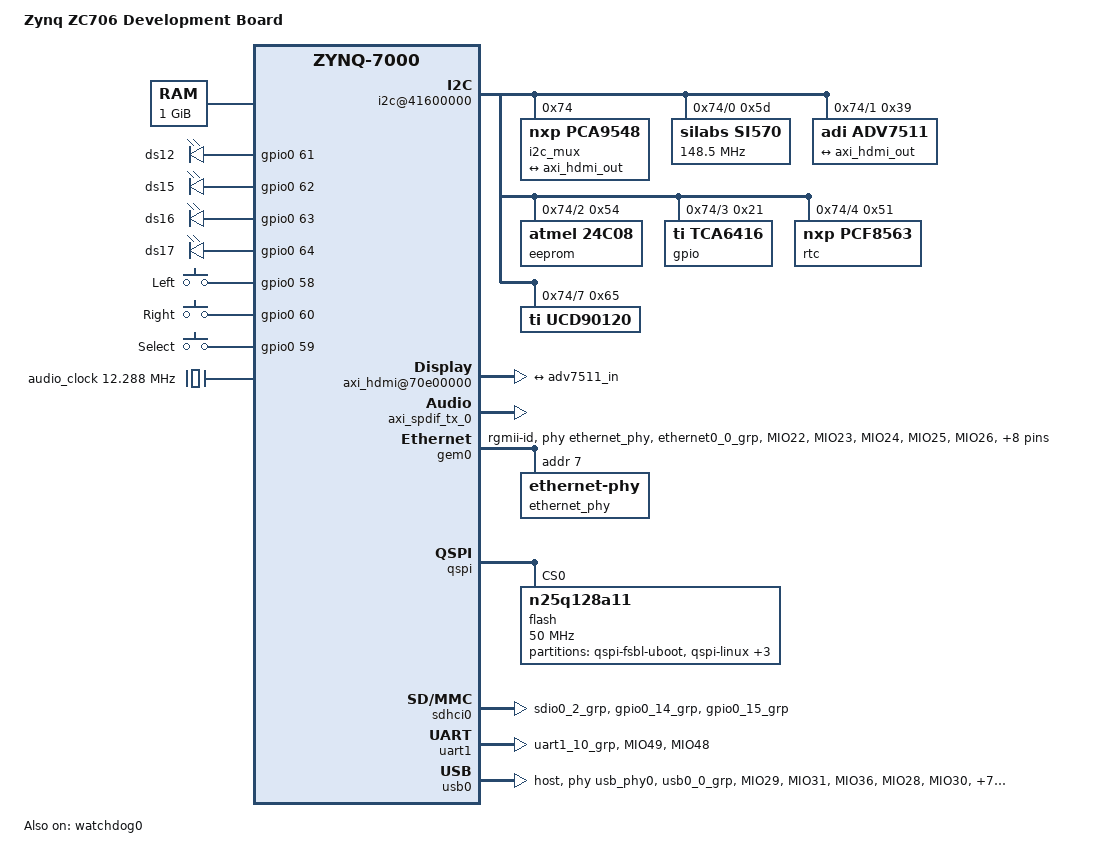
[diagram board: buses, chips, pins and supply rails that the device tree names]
/*
 *  Copyright (C) 2011 - 2018 Xilinx
 *  Copyright (C) 2018 WindRiver Corp.
 *
 * This software is licensed under the terms of the GNU General Public
 * License version 2, as published by the Free Software Foundation, and
 * may be copied, distributed, and modified under those terms.
 *
 * This program is distributed in the hope that it will be useful,
 * but WITHOUT ANY WARRANTY; without even the implied warranty of
 * MERCHANTABILITY or FITNESS FOR A PARTICULAR PURPOSE.  See the
 * GNU General Public License for more details.
 */
/dts-v1/;
/include/ "zynq-7000.dtsi"

/ {
	model = "Zynq ZC706 Development Board";
	compatible = "xlnx,zynq-zc706", "xlnx,zynq-7000";
	interrupt-parent = <&intc>;

	aliases {
		ethernet0 = &gem0;
		i2c0 = &i2c0;
		serial0 = &uart1;
		spi0 = &qspi;
	};

	memory@0 {
		device_type = "memory";
		reg = <0x0 0x40000000>;
	};

	chosen {
		bootargs = "";
		stdout-path = "serial0:115200n8";
	};

	usb_phy0: phy0 {
		compatible = "ulpi-phy";
		#phy-cells = <0>;
		reg = <0xe0002000 0x1000>;
		view-port = <0x0170>;
		drv-vbus;
	};

	leds {
		compatible = "gpio-leds";
		ds8 {
			label = "ds12";
			gpios = <&gpio0 61 0>;
		};

		ds9 {
			label = "ds15";
			gpios = <&gpio0 62 0>;
		};

		ds10 {
			label = "ds16";
			gpios = <&gpio0 63 0>;
		};

		ds35 {
			label = "ds17";
			gpios = <&gpio0 64 0>;
		};
	};

	gpio_keys {
		compatible = "gpio-keys";
		#address-cells = <1>;
		#size-cells = <0>;
		autorepeat;

		sw7 {
			label = "Left";
			linux,code = <105>; // Left
			gpios = <&gpio0 58 0>;
		};

		sw8 {
			label = "Right";
			linux,code = <106>; // Right
			gpios = <&gpio0 60 0>;
		};

		sw9 {
			label = "Select";
			linux,code = <28>; // Enter
			gpios = <&gpio0 59 0>;
		};
	};

	fpga_axi: fpga-axi@0 {
		compatible = "simple-bus";
		#address-cells = <0x1>;
		#size-cells = <0x1>;
		ranges;

		i2c@41600000 {
			compatible = "xlnx,xps-iic-2.00.a";
			reg = <0x41600000 0x10000>;
			interrupt-parent = <&intc>;
			interrupts = <0 58 4>;
			clocks = <&clkc 15>;
			clock-names = "pclk";

			#address-cells = <1>;
			#size-cells = <0>;

			i2c_mux: i2cswitch@74 {
				compatible = "nxp,pca9548";
				#address-cells = <1>;
				#size-cells = <0>;
				reg = <0x74>;

				i2c@0 {
					#address-cells = <1>;
					#size-cells = <0>;
					reg = <0>;
					si570: clock-generator@5d {
						#clock-cells = <0>;
						compatible = "silabs,si570","si570";
						temperature-stability = <50>;
						reg = <0x5d>;
						factory-fout = <156250000>;
						clock-frequency = <148500000>;
					};
				};

				i2c@1 {
				    #address-cells = <1>;
				    #size-cells = <0>;
				    reg = <1>;

				    adv7511: adv7511 {
						compatible = "adi,adv7511";
						reg = <0x39>, <0x3f>;
						reg-names = "primary", "edid";

						adi,input-depth = <8>;
						adi,input-colorspace = "rgb";
						adi,input-clock = "1x";
						adi,clock-delay = <0>;

						#sound-dai-cells = <0>;

						ports {
							#address-cells = <1>;
							#size-cells = <0>;

							port@0 {
								reg = <0>;
								adv7511_in: endpoint {
									remote-endpoint = <&axi_hdmi_out>;
								};
							};

							port@1 {
								reg = <1>;
							};
						};
				    };
				};

				i2c@2 {
					#address-cells = <1>;
					#size-cells = <0>;
					reg = <2>;
					eeprom@54 {
						compatible = "atmel,24c08";
						reg = <0x54>;
					};
				};

				i2c@3 {
					#address-cells = <1>;
					#size-cells = <0>;
					reg = <3>;
					gpio@21 {
						compatible = "ti,tca6416";
						reg = <0x21>;
						gpio-controller;
						#gpio-cells = <2>;
					};
				};

				i2c@4 {
					#size-cells = <0>;
					#address-cells = <1>;
					reg = <4>;
					rtc@51 {
						compatible = "nxp,pcf8563";
						reg = <0x51>;
					};
				};

				i2c@7 {
					#address-cells = <1>;
					#size-cells = <0>;
					reg = <7>;
					ucd90120@65 {
						compatible = "ti,ucd90120";
						reg = <0x65>;
					};
				};
			};
		};

		axi_vdma_0: axivdma@43000000 {
			compatible = "adi,axi-dmac-1.00.a";
			reg = <0x43000000 0x10000>;
			#dma-cells = <1>;
			interrupts = <0 59 4>;
			clocks = <&clkc 16>;

			adi,channels {
				#size-cells = <0>;
				#address-cells = <1>;

				dma-channel@0 {
					reg = <0>;
					adi,source-bus-width = <64>;
					adi,source-bus-type = <0>;
					adi,destination-bus-width = <64>;
					adi,destination-bus-type = <1>;
				};
			};
		};

		hdmi_clock: axi-clkgen@79000000 {
			compatible = "adi,axi-clkgen-2.00.a";
			reg = <0x79000000 0x10000>;
			#clock-cells = <0>;
			clocks = <&clkc 16>;
		};

		axi_hdmi@70e00000 {
			compatible = "adi,axi-hdmi-tx-1.00.a";
			reg = <0x70e00000 0x10000>;
			dmas = <&axi_vdma_0 0>;
			dma-names = "video";
			clocks = <&hdmi_clock>;
			adi,is-rgb;

			port {
				axi_hdmi_out: endpoint {
					remote-endpoint = <&adv7511_in>;
				};
			};
		};

		axi_spdif_tx_0: axi-spdif-tx@75c00000 {
			compatible = "adi,axi-spdif-tx-1.00.a";
			reg = <0x75c00000 0x1000>;
			dmas = <&dmac_s 0>;
			dma-names = "tx";
			clocks = <&clkc 15>, <&audio_clock>;
			clock-names = "axi", "ref";

			#sound-dai-cells = <0>;
		};
	};

	audio_clock: audio_clock {
		compatible = "fixed-clock";
		#clock-cells = <0>;
		clock-frequency = <12288000>;
	};

	adv7511_hdmi_snd {
		compatible = "simple-audio-card";
		simple-audio-card,name = "HDMI monitor";
		simple-audio-card,widgets =
			"Speaker", "Speaker";
		simple-audio-card,routing =
			"Speaker", "TX";

		simple-audio-card,dai-link@0 {
			format = "spdif";
			cpu {
				sound-dai = <&axi_spdif_tx_0>;
				frame-master;
				bitclock-master;
			};
			codec {
				sound-dai = <&adv7511>;
			};
		};
	};
};

&clkc {
	fclk-enable = <0xf>;
	ps-clk-frequency = <33333333>;
};

&gem0 {
	status = "okay";
	phy-mode = "rgmii-id";
	phy-handle = <&ethernet_phy>;
	pinctrl-names = "default";
	pinctrl-0 = <&pinctrl_gem0_default>;

	ethernet_phy: ethernet-phy@7 {
		reg = <7>;
		device_type = "ethernet-phy";
	};
};

&gpio0 {
	pinctrl-names = "default";
	pinctrl-0 = <&pinctrl_gpio0_default>;
};

&pinctrl0 {
	pinctrl_gem0_default: gem0-default {
		mux {
			function = "ethernet0";
			groups = "ethernet0_0_grp";
		};

		conf {
			groups = "ethernet0_0_grp";
			slew-rate = <0>;
			io-standard = <4>;
		};

		conf-rx {
			pins = "MIO22", "MIO23", "MIO24", "MIO25", "MIO26", "MIO27";
			bias-high-impedance;
			low-power-disable;
		};

		conf-tx {
			pins = "MIO16", "MIO17", "MIO18", "MIO19", "MIO20", "MIO21";
			low-power-enable;
			bias-disable;
		};

		mux-mdio {
			function = "mdio0";
			groups = "mdio0_0_grp";
		};

		conf-mdio {
			groups = "mdio0_0_grp";
			slew-rate = <0>;
			io-standard = <1>;
			bias-disable;
		};
	};

	pinctrl_gpio0_default: gpio0-default {
		mux {
			function = "gpio0";
			groups = "gpio0_7_grp", "gpio0_46_grp", "gpio0_47_grp";
		};

		conf {
			groups = "gpio0_7_grp", "gpio0_46_grp", "gpio0_47_grp";
			slew-rate = <0>;
			io-standard = <1>;
		};

		conf-pull-up {
			pins = "MIO46", "MIO47";
			bias-pull-up;
		};

		conf-pull-none {
			pins = "MIO7";
			bias-disable;
		};
	};

	pinctrl_i2c0_default: i2c0-default {
		mux {
			groups = "i2c0_10_grp";
			function = "i2c0";
		};

		conf {
			groups = "i2c0_10_grp";
			bias-pull-up;
			slew-rate = <0>;
			io-standard = <1>;
		};
	};

	pinctrl_sdhci0_default: sdhci0-default {
		mux {
			groups = "sdio0_2_grp";
			function = "sdio0";
		};

		conf {
			groups = "sdio0_2_grp";
			slew-rate = <0>;
			io-standard = <1>;
			bias-disable;
		};

		mux-cd {
			groups = "gpio0_14_grp";
			function = "sdio0_cd";
		};

		conf-cd {
			groups = "gpio0_14_grp";
			bias-high-impedance;
			bias-pull-up;
			slew-rate = <0>;
			io-standard = <1>;
		};

		mux-wp {
			groups = "gpio0_15_grp";
			function = "sdio0_wp";
		};

		conf-wp {
			groups = "gpio0_15_grp";
			bias-high-impedance;
			bias-pull-up;
			slew-rate = <0>;
			io-standard = <1>;
		};
	};

	pinctrl_uart1_default: uart1-default {
		mux {
			groups = "uart1_10_grp";
			function = "uart1";
		};

		conf {
			groups = "uart1_10_grp";
			slew-rate = <0>;
			io-standard = <1>;
		};

		conf-rx {
			pins = "MIO49";
			bias-high-impedance;
		};

		conf-tx {
			pins = "MIO48";
			bias-disable;
		};
	};

	pinctrl_usb0_default: usb0-default {
		mux {
			groups = "usb0_0_grp";
			function = "usb0";
		};

		conf {
			groups = "usb0_0_grp";
			slew-rate = <0>;
			io-standard = <1>;
		};

		conf-rx {
			pins = "MIO29", "MIO31", "MIO36";
			bias-high-impedance;
		};

		conf-tx {
			pins = "MIO28", "MIO30", "MIO32", "MIO33", "MIO34",
			       "MIO35", "MIO37", "MIO38", "MIO39";
			bias-disable;
		};
	};
};

&qspi {
	u-boot,dm-pre-reloc;
	status = "okay";
	is-dual = <1>;
	num-cs = <1>;
	flash@0 {
		compatible = "n25q128a11";
		reg = <0x0>;
		spi-tx-bus-width = <1>;
		spi-rx-bus-width = <4>;
		spi-max-frequency = <50000000>;
		#address-cells = <1>;
		#size-cells = <1>;
		partition@qspi-fsbl-uboot {
			label = "qspi-fsbl-uboot";
			reg = <0x0 0x100000>;
		};
		partition@qspi-linux {
			label = "qspi-linux";
			reg = <0x100000 0x500000>;
		};
		partition@qspi-device-tree {
			label = "qspi-device-tree";
			reg = <0x600000 0x20000>;
		};
		partition@qspi-rootfs {
			label = "qspi-rootfs";
			reg = <0x620000 0x5E0000>;
		};
		partition@qspi-bitstream {
			label = "qspi-bitstream";
			reg = <0xC00000 0x400000>;
		};
	};
};

&sdhci0 {
	u-boot,dm-pre-reloc;
	status = "okay";
	pinctrl-names = "default";
	pinctrl-0 = <&pinctrl_sdhci0_default>;
};

&uart1 {
	u-boot,dm-pre-reloc;
	status = "okay";
	pinctrl-names = "default";
	pinctrl-0 = <&pinctrl_uart1_default>;
};

&usb0 {
	status = "okay";
	dr_mode = "host";
	usb-phy = <&usb_phy0>;
	pinctrl-names = "default";
	pinctrl-0 = <&pinctrl_usb0_default>;
	xlnx,phy-reset-gpio = <&gpio0 7 0>;
};

&watchdog0 {
	status = "okay";
	reset-on-timeout;
};
